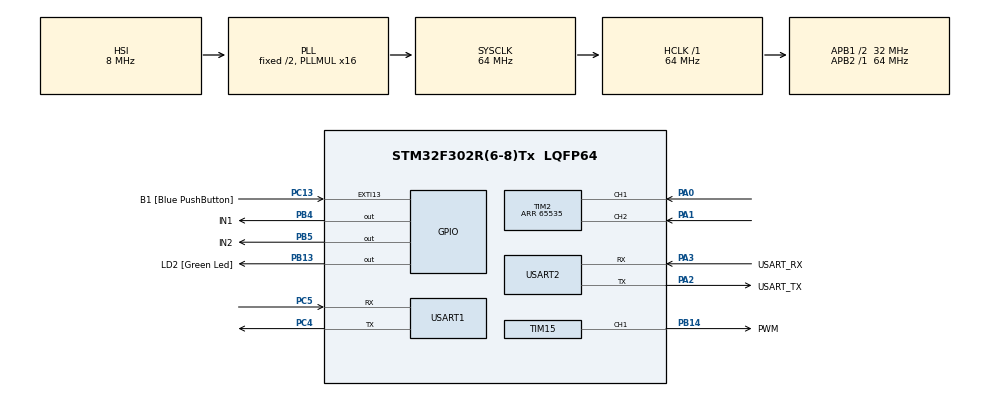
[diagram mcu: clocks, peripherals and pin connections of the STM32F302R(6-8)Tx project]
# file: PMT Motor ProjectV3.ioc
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Dma.Request0=USART1_RX
Dma.Request1=USART1_TX
Dma.USART1_RX.0.Direction=DMA_PERIPH_TO_MEMORY
Dma.USART1_RX.0.Instance=DMA1_Channel5
Dma.USART1_RX.0.MemDataAlignment=DMA_MDATAALIGN_BYTE
Dma.USART1_RX.0.MemInc=DMA_MINC_ENABLE
Dma.USART1_RX.0.Mode=DMA_NORMAL
Dma.USART1_RX.0.PeriphDataAlignment=DMA_PDATAALIGN_BYTE
Dma.USART1_RX.0.PeriphInc=DMA_PINC_DISABLE
Dma.USART1_RX.0.Priority=DMA_PRIORITY_LOW
Dma.USART1_TX.1.Direction=DMA_MEMORY_TO_PERIPH
Dma.USART1_TX.1.Instance=DMA1_Channel4
Dma.USART1_TX.1.MemDataAlignment=DMA_MDATAALIGN_BYTE
Dma.USART1_TX.1.MemInc=DMA_MINC_ENABLE
Dma.USART1_TX.1.Mode=DMA_NORMAL
Dma.USART1_TX.1.PeriphDataAlignment=DMA_PDATAALIGN_BYTE
Dma.USART1_TX.1.PeriphInc=DMA_PINC_DISABLE
Dma.USART1_TX.1.Priority=DMA_PRIORITY_LOW
Mcu.Family=STM32F3
Mcu.Name=STM32F302R(6-8)Tx
Mcu.Package=LQFP64
NVIC.DMA1_Channel4_IRQn=true\:0\:0\:false\:false\:true\:false\:true\:true
NVIC.DMA1_Channel5_IRQn=true\:0\:0\:false\:false\:true\:false\:true\:true
NVIC.PriorityGroup=NVIC_PRIORITYGROUP_0
NVIC.TIM6_DAC_IRQn=true\:0\:0\:false\:false\:true\:true\:true\:true
NVIC.USART1_IRQn=true\:0\:0\:false\:false\:true\:true\:true\:true
PA0.Signal=S_TIM2_CH1_ETR
PA1.Signal=S_TIM2_CH2
PA13.GPIO_Label=TMS
PA13.Mode=Serial_Wire
PA13.Signal=SYS_JTMS-SWDIO
PA14.GPIO_Label=TCK
PA14.Mode=Serial_Wire
PA14.Signal=SYS_JTCK-SWCLK
PA2.GPIO_Label=USART_TX
PA2.GPIO_Mode=GPIO_MODE_AF_PP
PA2.GPIO_PuPd=GPIO_NOPULL
PA2.GPIO_Speed=GPIO_SPEED_FREQ_LOW
PA2.Mode=Asynchronous
PA2.Signal=USART2_TX
PA3.GPIO_Label=USART_RX
PA3.GPIO_Mode=GPIO_MODE_AF_PP
PA3.GPIO_PuPd=GPIO_NOPULL
PA3.GPIO_Speed=GPIO_SPEED_FREQ_LOW
PA3.Mode=Asynchronous
PA3.Signal=USART2_RX
PB13.GPIO_Label=LD2 [Green Led]
PB13.Signal=GPIO_Output
PB14.GPIO_Label=PWM
PB14.Signal=S_TIM15_CH1
PB3.GPIO_Label=SWO
PB3.Mode=Trace_Asynchronous_SW
PB3.Signal=SYS_JTDO-TRACESWO
PB4.GPIO_Label=IN1
PB4.Signal=GPIO_Output
PB5.GPIO_Label=IN2
PB5.Signal=GPIO_Output
PC13.GPIO_Label=B1 [Blue PushButton]
PC13.GPIO_ModeDefaultEXTI=GPIO_MODE_IT_FALLING
PC13.Signal=GPXTI13
PC14\ -\ OSC32_IN.Mode=LSE-External-Oscillator
PC14\ -\ OSC32_IN.Signal=RCC_OSC32_IN
PC15\ -\ OSC32_OUT.Mode=LSE-External-Oscillator
PC15\ -\ OSC32_OUT.Signal=RCC_OSC32_OUT
PC4.Mode=Asynchronous
PC4.Signal=USART1_TX
PC5.Mode=Asynchronous
PC5.Signal=USART1_RX
PF0-OSC_IN.Mode=HSE-External-Clock-Source
PF0-OSC_IN.Signal=RCC_OSC_IN
PF1-OSC_OUT.Signal=RCC_OSC_OUT
ProjectManager.HeapSize=0x200
ProjectManager.StackSize=0x400
ProjectManager.TargetToolchain=STM32CubeIDE
RCC.AHBFreq_Value=64000000
RCC.APB1CLKDivider=RCC_HCLK_DIV2
RCC.APB1Freq_Value=32000000
RCC.APB1TimFreq_Value=64000000
RCC.APB2Freq_Value=64000000
RCC.APB2TimFreq_Value=64000000
RCC.CortexFreq_Value=64000000
RCC.HCLKFreq_Value=64000000
RCC.HSE_VALUE=8000000
RCC.HSI_VALUE=8000000
RCC.PLLM=8
RCC.PLLMUL=RCC_PLL_MUL16
RCC.PLLN=336
RCC.PLLP=RCC_PLLP_DIV4
RCC.PLLQ=7
RCC.RCC_PLLsource_Clock_Source_FROM_HSE=RCC_HSE_PREDIV_DIV2
RCC.SYSCLKFreq_VALUE=64000000
RCC.SYSCLKSourceVirtual=RCC_SYSCLKSOURCE_PLLCLK
RCC.USBFreq_Value=64000000
SH.S_TIM15_CH1.0=TIM15_CH1,PWM Generation1 CH1
SH.S_TIM2_CH1_ETR.0=TIM2_CH1,Encoder_Interface
SH.S_TIM2_CH2.0=TIM2_CH2,Encoder_Interface
TIM15.Channel-PWM\ Generation1\ CH1=TIM_CHANNEL_1
TIM15.Period=3214
TIM15.Prescaler=0
TIM15.Pulse-PWM\ Generation1\ CH1=1607
TIM2.EncoderMode=TIM_ENCODERMODE_TI12
TIM2.Period=65535
TIM6.Period=19999
TIM6.Prescaler=15
USART1.VirtualMode-Asynchronous=VM_ASYNC
USART2.VirtualMode-Asynchronous=VM_ASYNC
VP_TIM6_VS_ClockSourceINT.Mode=Enable_Timer
board=NUCLEO-F302R8

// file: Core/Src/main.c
/* USER CODE BEGIN Header */
/**
  ******************************************************************************
  * @file           : main.c
  * @brief          : Main program body
  ******************************************************************************
  * @attention
  *
  * Copyright (c) 2023 STMicroelectronics.
  * All rights reserved.
  *
  * This software is licensed under terms that can be found in the LICENSE file
  * in the root directory of this software component.
  * If no LICENSE file comes with this software, it is provided AS-IS.
  *
  ******************************************************************************

  Index code dictionary:
  0x01: Control Parameters
  0x10: Current Values
  0x11: Velocity Values
  0x12: Position Values
  0x36: Velocity Loop Control Parameters (PID)
  0xD0: Control Loop Configuration Parameters
  0xFE: calculating CRC of data or header or smth.

  */
/* USER CODE END Header */
#include "main.h"

TIM_HandleTypeDef htim2;
TIM_HandleTypeDef htim6;
TIM_HandleTypeDef htim15;

UART_HandleTypeDef huart1;
UART_HandleTypeDef huart2;
DMA_HandleTypeDef hdma_usart1_rx;
DMA_HandleTypeDef hdma_usart1_tx;

/* USER CODE BEGIN PV */

union ParaType
{
	float flt;
	int8_t byte[4];
} Kp, Ki, Kd, Ka;

union MeasuredType
{
	int32_t INT;
	uint8_t byte[4];
} Vel_Measured, Vel_Target;

#define DMA_RX_BUFFER_SIZE 256
uint8_t DMA_RX_Buffer[DMA_RX_BUFFER_SIZE];

#define DMA_TX_BUFFER_SIZE 520
uint8_t DMA_TX_Buffer[DMA_TX_BUFFER_SIZE];

uint8_t Rx_Head[8], Rx_Data[20], Rx_Buffer[256], Data_Buffer[256];
uint8_t Rply_Head[8] = { 0xA5, 0xFF, 0x01, 0x01, 0x00, 0x00, 0x00, 0x00 };
uint8_t Rply_Data[512];
uint8_t Tx_Buffer[512];
volatile uint16_t counter = 0, Rx_Counter;
volatile uint8_t COM_Status; // status = 0, DMA not finished. = 1, DMA finished
volatile uint8_t uartTxDone;
uint8_t message[29] = "Driver Ware has began running";
uint16_t EncVal, direction;
int32_t Speed_TIM6_Measured, Speed_TIM6_Target, Err, Err_1, Err_2, Uk, Uk_1, dU;
uint16_t i, j, CRC_Val, x, y, accumulator, k;
float vKp, vKi, vKd, vKa;
uint8_t CCW = 0;

static const uint16_t crctable[256] = {
	0x0000, 0x1021, 0x2042, 0x3063, 0x4084, 0x50A5, 0x60C6, 0x70E7,
	0x8108, 0x9129, 0xA14A, 0xB16B, 0xC18C, 0xD1AD, 0xE1CE, 0xF1EF,
	0x1231, 0x0210, 0x3273, 0x2252, 0x52B5, 0x4294, 0x72F7, 0x62D6,
	0x9339, 0x8318, 0xB37B, 0xA35A, 0xD3BD, 0xC39C, 0xF3FF, 0xE3DE,
	0x2462, 0x3443, 0x0420, 0x1401, 0x64E6, 0x74C7, 0x44A4, 0x5485,
	0xA56A, 0xB54B, 0x8528, 0x9509, 0xE5EE, 0xF5CF, 0xC5AC, 0xD58D,
	0x3653, 0x2672, 0x1611, 0x0630, 0x76D7, 0x66F6, 0x5695, 0x46B4,
	0xB75B, 0xA77A, 0x9719, 0x8738, 0xF7DF, 0xE7FE, 0xD79D, 0xC7BC,
	0x48C4, 0x58E5, 0x6886, 0x78A7, 0x0840, 0x1861, 0x2802, 0x3823,
	0xC9CC, 0xD9ED, 0xE98E, 0xF9AF, 0x8948, 0x9969, 0xA90A, 0xB92B,
	0x5AF5, 0x4AD4, 0x7AB7, 0x6A96, 0x1A71, 0x0A50, 0x3A33, 0x2A12,
	0xDBFD, 0xCBDC, 0xFBBF, 0xEB9E, 0x9B79, 0x8B58, 0xBB3B, 0xAB1A,
	0x6CA6, 0x7C87, 0x4CE4, 0x5CC5, 0x2C22, 0x3C03, 0x0C60, 0x1C41,
	0xEDAE, 0xFD8F, 0xCDEC, 0xDDCD, 0xAD2A, 0xBD0B, 0x8D68, 0x9D49,
	0x7E97, 0x6EB6, 0x5ED5, 0x4EF4, 0x3E13, 0x2E32, 0x1E51, 0x0E70,
	0xFF9F, 0xEFBE, 0xDFDD, 0xCFFC, 0xBF1B, 0xAF3A, 0x9F59, 0x8F78,
	0x9188, 0x81A9, 0xB1CA, 0xA1EB, 0xD10C, 0xC12D, 0xF14E, 0xE16F,
	0x1080, 0x00A1, 0x30C2, 0x20E3, 0x5004, 0x4025, 0x7046, 0x6067,
	0x83B9, 0x9398, 0xA3FB, 0xB3DA, 0xC33D, 0xD31C, 0xE37F, 0xF35E,
	0x02B1, 0x1290, 0x22F3, 0x32D2, 0x4235, 0x5214, 0x6277, 0x7256,
	0xB5EA, 0xA5CB, 0x95A8, 0x8589, 0xF56E, 0xE54F, 0xD52C, 0xC50D,
	0x34E2, 0x24C3, 0x14A0, 0x0481, 0x7466, 0x6447, 0x5424, 0x4405,
	0xA7DB, 0xB7FA, 0x8799, 0x97B8, 0xE75F, 0xF77E, 0xC71D, 0xD73C,
	0x26D3, 0x36F2, 0x0691, 0x16B0, 0x6657, 0x7676, 0x4615, 0x5634,
	0xD94C, 0xC96D, 0xF90E, 0xE92F, 0x99C8, 0x89E9, 0xB98A, 0xA9AB,
	0x5844, 0x4865, 0x7806, 0x6827, 0x18C0, 0x08E1, 0x3882, 0x28A3,
	0xCB7D, 0xDB5C, 0xEB3F, 0xFB1E, 0x8BF9, 0x9BD8, 0xABBB, 0xBB9A,
	0x4A75, 0x5A54, 0x6A37, 0x7A16, 0x0AF1, 0x1AD0, 0x2AB3, 0x3A92,
	0xFD2E, 0xED0F, 0xDD6C, 0xCD4D, 0xBDAA, 0xAD8B, 0x9DE8, 0x8DC9,
	0x7C26, 0x6C07, 0x5C64, 0x4C45, 0x3CA2, 0x2C83, 0x1CE0, 0x0CC1,
	0xEF1F, 0xFF3E, 0xCF5D, 0xDF7C, 0xAF9B, 0xBFBA, 0x8FD9, 0x9FF8,
	0x6E17, 0x7E36, 0x4E55, 0x5E74, 0x2E93, 0x3EB2, 0x0ED1, 0x1EF0
};

/* USER CODE END PV */

void SystemClock_Config(void);
static void MX_GPIO_Init(void);
static void MX_DMA_Init(void);
static void MX_USART2_UART_Init(void);
static void MX_TIM2_Init(void);
static void MX_TIM6_Init(void);
static void MX_TIM15_Init(void);
static void MX_USART1_UART_Init(void);
/* USER CODE BEGIN PFP */
void Transmit_DMA(UART_HandleTypeDef *UartHandle, uint8_t* aTxBuffer, uint16_t TXBUFFERSIZE);
uint16_t CalculateCRC16( const uint8_t* c_ptr, size_t len );
void Make_Rply_Head(uint8_t* c_ptr, uint8_t r2, uint8_t r3, uint8_t r4, uint8_t r5);
/* USER CODE END PFP */

int main(void)
{

  /* MCU Configuration--------------------------------------------------------*/

  /* Reset of all peripherals, Initializes the Flash interface and the Systick. */
  HAL_Init();

  /* Configure the system clock */
  SystemClock_Config();

  /* Initialize all configured peripherals */
  MX_GPIO_Init();
  MX_DMA_Init();
  MX_USART2_UART_Init();
  MX_TIM2_Init();
  MX_TIM6_Init();
  MX_TIM15_Init();
  MX_USART1_UART_Init();
  /* USER CODE BEGIN 2 */
  HAL_UART_Transmit (&huart1, message, strlen(message), 100 );

  __HAL_UART_ENABLE_IT( &huart1, UART_IT_IDLE );//enable idle interrupt
  __HAL_DMA_ENABLE_IT( &hdma_usart1_rx, DMA_IT_TC);//enable DMA complete interrupt
  __HAL_DMA_DISABLE_IT( &hdma_usart1_rx, DMA_IT_HT);//disable half transfer interrupt

  HAL_UART_Receive_DMA( &huart1, DMA_RX_Buffer, DMA_RX_BUFFER_SIZE );//enable uart1 DMA receiving

  COM_Status = 0;

  HAL_TIM_PWM_Start( &htim15, TIM_CHANNEL_1 );
  HAL_TIMEx_PWMN_Start( &htim15, TIM_CHANNEL_1 );

  HAL_TIM_Encoder_Start(&htim2, TIM_CHANNEL_ALL);
  TIM2->CNT = 32767; //encoder couter offset;
  HAL_TIM_Base_Start(&htim2);

  HAL_GPIO_WritePin (GPIOB, GPIO_PIN_4, GPIO_PIN_SET);
  HAL_GPIO_WritePin (GPIOB, GPIO_PIN_5, GPIO_PIN_RESET);

  /* USER CODE END 2 */

  /* Infinite loop */
  while (1)
  {

    /* USER CODE BEGIN 3 */

	  //Transmit_DMA( &huart1, "HELLO\r\n", 7);

	  if( COM_Status == 1 )
	  {

		  Transmit_DMA( &huart1, Data_Buffer, strlen(Data_Buffer) );
		  Transmit_DMA( &huart1, "\n\r", 2 );

		  for( i = 0; i < Rx_Counter; ++i )
		  {

			  if ( Data_Buffer[i] == 0xA5 )
			  {
				  //Transmit_DMA( &huart1, "this works\r\n", 12);
				  //Transmit_DMA( &huart1, "\n\r", 2 )
				  for ( j = 0; j < 8; ++j )
				  {
					  Rx_Head[j] = Data_Buffer[i + j];
				  }
				  //do a crc check
				  CRC_Val = CalculateCRC16( Rx_Head, 6 );
				  uint8_t write [2] = { (CRC_Val >> 8) & 0x00FF, CRC_Val & 0x00FF };
				  Transmit_DMA( &huart1, write, sizeof(write) );

				  if ( ( (CRC_Val >> 8) & 0x00FF ) != Rx_Head[6] || ( CRC_Val & 0x00FF ) != Rx_Head[7] )
				  {
					  //prepare error reply head and exit the loop checking the data buffer
					  Make_Rply_Head( Rply_Head, (Rx_Head[2] & 0xFC), 0x08, 0x0, 0x0);
					  Transmit_DMA( &huart1, Rply_Head, sizeof(Rply_Head) );
					  COM_Status = 0;
					  break;
				  }

				  //if Rx_Head is correct, check if data follows using the "length" byte (Rx_Head[5])
				  if ( Rx_Head[5] != 0 )
				  {
					  for ( j = 0; j < 2*Rx_Head[5] + 2 ; ++j )
					  {
						  Rx_Data[j] = Data_Buffer[ i + 8 + j ];
					  }
					  //check CRC
					  CRC_Val = CalculateCRC16( Rx_Data, Rx_Head[5]*2 ); //"length" is measured in words. Each word = 2 bytes

					  uint8_t write [2] = { (CRC_Val >> 8) & 0x00FF, CRC_Val & 0x00FF };
					  Transmit_DMA( &huart1, write, sizeof(write) );

					  if ( ( (CRC_Val >> 8) & 0x00FF ) != Rx_Data[ Rx_Head[5]*2] || ( CRC_Val & 0x00FF ) != Rx_Data[ Rx_Head[5]*2 + 1 ] )
					  {
						  Make_Rply_Head( Rply_Head, (Rx_Head[2] & 0xFC), 0x08, 0x0, 0x0);
						  Transmit_DMA( &huart1, Rply_Head, sizeof(Rply_Head) );
						  COM_Status = 0;
						  break;
					  }
					  //Command is complete, Rply_Head[3] = 0x01 //1-command complete, 2-command incomplete, 4-invalid command, 6-do not have write access, 8-crc/frame error

				  }
				  //If data crc is correct/there is no data, continue on to the index.
				  //check Index
				  switch ( Rx_Head[3] )
				  {
				  case 0x01:
					  HAL_TIM_Base_Stop_IT(&htim6);
					  TIM1->CCR1 = 1607;
					  COM_Status = 0;
					  break;
				  case 0x10:
					  COM_Status = 0;
					  break;
				  case 0x11:
					  //for a more in-depth protocol: if offset is 04 -> set target velocity (in rpm)
					  //output current rpm
					  Make_Rply_Head( Rply_Head, ( (Rx_Head[2] & 0xFC) | 0x02 ), 0x01, 0, 2);

					  Vel_Measured.INT = (int32_t)( Speed_TIM6_Measured  ); //outputs rpm * ( 200.0 * 60.0 * (1.0/5120.0) )

					  for( k = 0; k < 4; ++k )
						  Rply_Data[k] = Vel_Measured.byte[3-k];
					  //most significant bit at the highest k/ at the end of the array.
					  CRC_Val = CalculateCRC16( Rply_Data, Rx_Head[5]*2 );
					  Rply_Data[5] = ( CRC_Val >> 8 ) & 0x00FF;
					  Rply_Data[6] = CRC_Val & 0x00FF;

					  for ( k = 0; k < 8; ++k )
						  Tx_Buffer[k] = Rply_Head[k];
					  for ( k = 0; k < 6; ++k )
						  Tx_Buffer[ k + 8 ] = Rply_Data[k];

					  Transmit_DMA( &huart1, Tx_Buffer, 14 );

					  switch( Rx_Head[4] )
					  {
					  case 0x00:
						  break;
					  case 0x04:
						  for ( k = 0; k < 4; ++k )
							  Vel_Target.byte[3-k]= Rx_Data[k];
						  Speed_TIM6_Target = (int32_t)( Vel_Target.INT /200.0 );
						  //velocity will be measured in CNT/5sec -> to get rpm, mutliply by 60/5120
						  if(Speed_TIM6_Target < 0)
						  {
							  CCW = 1;
						  }
						  else
						  {
							  CCW = 0;
						  }
						  break;
					  }

					  COM_Status = 0;
					  break;

				  case 0x12:
				  case 0x36:
					  //PID initialization
					  //turning data bytes into float numbers
					  for( k = 0; k < 4; ++k )
						  Kp.byte[3-k] = Rx_Data[k];
					  vKp = Kp.flt;

					  for( k = 0; k < 4; ++k )
						  Ki.byte[3-k] = Rx_Data[4 + k];
					  vKi = Ki.flt;

					  for( k = 0; k < 4; ++k )
						  Kd.byte[3-k] = Rx_Data[8 + k];
					  vKd = Kd.flt;

					  for( k = 0; k < 4; ++k )
						  Ka.byte[3-k] = Rx_Data[12 + k];
					  vKa = Ka.flt; //what is vKa used for?

					  COM_Status = 0;
					  break;

				  case 0xD0:
					  //start TIM6 timer and enable it's interrupt + NVIC priority
					  //Why is the timer and interrupt enabled here?
					  HAL_TIM_Base_Start_IT(&htim6);
					  HAL_NVIC_SetPriority(TIM6_DAC_IRQn, 0, 0); //set NVIC priority
					  HAL_NVIC_EnableIRQ(TIM6_DAC_IRQn); //enable interrupt
					  COM_Status = 0;
					  break;
				  case 0xFE:
					  CRC_Val = CalculateCRC16( Rx_Data, Rx_Head[5]*2 );
					  Make_Rply_Head( Rply_Head, ( (Rx_Head[2] & 0xFC) | 0x02 ), 0x01, 0, 1);
					  Rply_Data[0] = ( CRC_Val >> 8 ) & 0x00FF;
					  Rply_Data[1] = CRC_Val & 0x00FF;
					  /*CRC_Val = CalculateCRC16( Rply_Data, Rply_Data[5]*2 );
					  Rply_Data[2] = ( CRC_Val >> 8 ) & 0x00FF;
					  Rply_Data[3] = CRC_Val & 0x00FF;*/

					  /*for ( k = 0; k < 8; ++k )
						  Tx_Buffer[k] = Rply_Head[k];
					  for ( k = 0; k < 4; ++k )
						  Tx_Buffer[ k + 8 ] = Rply_Data[k];*/

					  Transmit_DMA( &huart1, Rply_Data, 2 );

					  COM_Status = 0;
					  break;
				  }
			  }

		  }

		  COM_Status = 0;
	  }
	  //HAL_Delay(1000);
  }
  /* USER CODE END 3 */
}

void SystemClock_Config(void)
{
  RCC_OscInitTypeDef RCC_OscInitStruct = {0};
  RCC_ClkInitTypeDef RCC_ClkInitStruct = {0};
  RCC_PeriphCLKInitTypeDef PeriphClkInit = {0};

  /** Initializes the RCC Oscillators according to the specified parameters
  * in the RCC_OscInitTypeDef structure.
  */
  RCC_OscInitStruct.OscillatorType = RCC_OSCILLATORTYPE_HSI;
  RCC_OscInitStruct.HSIState = RCC_HSI_ON;
  RCC_OscInitStruct.HSICalibrationValue = RCC_HSICALIBRATION_DEFAULT;
  RCC_OscInitStruct.PLL.PLLState = RCC_PLL_ON;
  RCC_OscInitStruct.PLL.PLLSource = RCC_PLLSOURCE_HSI;
  RCC_OscInitStruct.PLL.PLLMUL = RCC_PLL_MUL16;
  if (HAL_RCC_OscConfig(&RCC_OscInitStruct) != HAL_OK)
  {
    Error_Handler();
  }

  /** Initializes the CPU, AHB and APB buses clocks
  */
  RCC_ClkInitStruct.ClockType = RCC_CLOCKTYPE_HCLK|RCC_CLOCKTYPE_SYSCLK
                              |RCC_CLOCKTYPE_PCLK1|RCC_CLOCKTYPE_PCLK2;
  RCC_ClkInitStruct.SYSCLKSource = RCC_SYSCLKSOURCE_PLLCLK;
  RCC_ClkInitStruct.AHBCLKDivider = RCC_SYSCLK_DIV1;
  RCC_ClkInitStruct.APB1CLKDivider = RCC_HCLK_DIV2;
  RCC_ClkInitStruct.APB2CLKDivider = RCC_HCLK_DIV1;

  if (HAL_RCC_ClockConfig(&RCC_ClkInitStruct, FLASH_LATENCY_2) != HAL_OK)
  {
    Error_Handler();
  }
  PeriphClkInit.PeriphClockSelection = RCC_PERIPHCLK_USART1|RCC_PERIPHCLK_TIM15;
  PeriphClkInit.Usart1ClockSelection = RCC_USART1CLKSOURCE_PCLK1;
  PeriphClkInit.Tim15ClockSelection = RCC_TIM15CLK_HCLK;
  if (HAL_RCCEx_PeriphCLKConfig(&PeriphClkInit) != HAL_OK)
  {
    Error_Handler();
  }
}

static void MX_TIM2_Init(void)
{

  TIM_Encoder_InitTypeDef sConfig = {0};
  TIM_MasterConfigTypeDef sMasterConfig = {0};

  htim2.Instance = TIM2;
  htim2.Init.Prescaler = 0;
  htim2.Init.CounterMode = TIM_COUNTERMODE_UP;
  htim2.Init.Period = 65535;
  htim2.Init.ClockDivision = TIM_CLOCKDIVISION_DIV1;
  htim2.Init.AutoReloadPreload = TIM_AUTORELOAD_PRELOAD_DISABLE;
  sConfig.EncoderMode = TIM_ENCODERMODE_TI12;
  sConfig.IC1Polarity = TIM_ICPOLARITY_RISING;
  sConfig.IC1Selection = TIM_ICSELECTION_DIRECTTI;
  sConfig.IC1Prescaler = TIM_ICPSC_DIV1;
  sConfig.IC1Filter = 0;
  sConfig.IC2Polarity = TIM_ICPOLARITY_RISING;
  sConfig.IC2Selection = TIM_ICSELECTION_DIRECTTI;
  sConfig.IC2Prescaler = TIM_ICPSC_DIV1;
  sConfig.IC2Filter = 0;
  if (HAL_TIM_Encoder_Init(&htim2, &sConfig) != HAL_OK)
  {
    Error_Handler();
  }
  sMasterConfig.MasterOutputTrigger = TIM_TRGO_RESET;
  sMasterConfig.MasterSlaveMode = TIM_MASTERSLAVEMODE_DISABLE;
  if (HAL_TIMEx_MasterConfigSynchronization(&htim2, &sMasterConfig) != HAL_OK)
  {
    Error_Handler();
  }

}

static void MX_TIM6_Init(void)
{

  TIM_MasterConfigTypeDef sMasterConfig = {0};

  htim6.Instance = TIM6;
  htim6.Init.Prescaler = 15;
  htim6.Init.CounterMode = TIM_COUNTERMODE_UP;
  htim6.Init.Period = 19999;
  htim6.Init.AutoReloadPreload = TIM_AUTORELOAD_PRELOAD_DISABLE;
  if (HAL_TIM_Base_Init(&htim6) != HAL_OK)
  {
    Error_Handler();
  }
  sMasterConfig.MasterOutputTrigger = TIM_TRGO_RESET;
  sMasterConfig.MasterSlaveMode = TIM_MASTERSLAVEMODE_DISABLE;
  if (HAL_TIMEx_MasterConfigSynchronization(&htim6, &sMasterConfig) != HAL_OK)
  {
    Error_Handler();
  }

}

static void MX_TIM15_Init(void)
{

  TIM_MasterConfigTypeDef sMasterConfig = {0};
  TIM_OC_InitTypeDef sConfigOC = {0};
  TIM_BreakDeadTimeConfigTypeDef sBreakDeadTimeConfig = {0};

  htim15.Instance = TIM15;
  htim15.Init.Prescaler = 0;
  htim15.Init.CounterMode = TIM_COUNTERMODE_UP;
  htim15.Init.Period = 3214;
  htim15.Init.ClockDivision = TIM_CLOCKDIVISION_DIV1;
  htim15.Init.RepetitionCounter = 0;
  htim15.Init.AutoReloadPreload = TIM_AUTORELOAD_PRELOAD_DISABLE;
  if (HAL_TIM_PWM_Init(&htim15) != HAL_OK)
  {
    Error_Handler();
  }
  sMasterConfig.MasterOutputTrigger = TIM_TRGO_RESET;
  sMasterConfig.MasterSlaveMode = TIM_MASTERSLAVEMODE_DISABLE;
  if (HAL_TIMEx_MasterConfigSynchronization(&htim15, &sMasterConfig) != HAL_OK)
  {
    Error_Handler();
  }
  sConfigOC.OCMode = TIM_OCMODE_PWM1;
  sConfigOC.Pulse = 0;
  sConfigOC.OCPolarity = TIM_OCPOLARITY_HIGH;
  sConfigOC.OCNPolarity = TIM_OCNPOLARITY_HIGH;
  sConfigOC.OCFastMode = TIM_OCFAST_DISABLE;
  sConfigOC.OCIdleState = TIM_OCIDLESTATE_RESET;
  sConfigOC.OCNIdleState = TIM_OCNIDLESTATE_RESET;
  if (HAL_TIM_PWM_ConfigChannel(&htim15, &sConfigOC, TIM_CHANNEL_1) != HAL_OK)
  {
    Error_Handler();
  }
  sBreakDeadTimeConfig.OffStateRunMode = TIM_OSSR_DISABLE;
  sBreakDeadTimeConfig.OffStateIDLEMode = TIM_OSSI_DISABLE;
  sBreakDeadTimeConfig.LockLevel = TIM_LOCKLEVEL_OFF;
  sBreakDeadTimeConfig.DeadTime = 0;
  sBreakDeadTimeConfig.BreakState = TIM_BREAK_DISABLE;
  sBreakDeadTimeConfig.BreakPolarity = TIM_BREAKPOLARITY_HIGH;
  sBreakDeadTimeConfig.BreakFilter = 0;
  sBreakDeadTimeConfig.AutomaticOutput = TIM_AUTOMATICOUTPUT_DISABLE;
  if (HAL_TIMEx_ConfigBreakDeadTime(&htim15, &sBreakDeadTimeConfig) != HAL_OK)
  {
    Error_Handler();
  }
  HAL_TIM_MspPostInit(&htim15);

}

static void MX_USART1_UART_Init(void)
{

  huart1.Instance = USART1;
  huart1.Init.BaudRate = 38400;
  huart1.Init.WordLength = UART_WORDLENGTH_8B;
  huart1.Init.StopBits = UART_STOPBITS_1;
  huart1.Init.Parity = UART_PARITY_NONE;
  huart1.Init.Mode = UART_MODE_TX_RX;
  huart1.Init.HwFlowCtl = UART_HWCONTROL_NONE;
  huart1.Init.OverSampling = UART_OVERSAMPLING_16;
  huart1.Init.OneBitSampling = UART_ONE_BIT_SAMPLE_DISABLE;
  huart1.AdvancedInit.AdvFeatureInit = UART_ADVFEATURE_NO_INIT;
  if (HAL_UART_Init(&huart1) != HAL_OK)
  {
    Error_Handler();
  }

}

static void MX_USART2_UART_Init(void)
{

  huart2.Instance = USART2;
  huart2.Init.BaudRate = 38400;
  huart2.Init.WordLength = UART_WORDLENGTH_8B;
  huart2.Init.StopBits = UART_STOPBITS_1;
  huart2.Init.Parity = UART_PARITY_NONE;
  huart2.Init.Mode = UART_MODE_TX_RX;
  huart2.Init.HwFlowCtl = UART_HWCONTROL_NONE;
  huart2.Init.OverSampling = UART_OVERSAMPLING_16;
  huart2.Init.OneBitSampling = UART_ONE_BIT_SAMPLE_DISABLE;
  huart2.AdvancedInit.AdvFeatureInit = UART_ADVFEATURE_NO_INIT;
  if (HAL_UART_Init(&huart2) != HAL_OK)
  {
    Error_Handler();
  }

}

static void MX_DMA_Init(void)
{

  /* DMA controller clock enable */
  __HAL_RCC_DMA1_CLK_ENABLE();

  /* DMA interrupt init */
  /* DMA1_Channel4_IRQn interrupt configuration */
  HAL_NVIC_SetPriority(DMA1_Channel4_IRQn, 0, 0);
  HAL_NVIC_EnableIRQ(DMA1_Channel4_IRQn);
  /* DMA1_Channel5_IRQn interrupt configuration */
  HAL_NVIC_SetPriority(DMA1_Channel5_IRQn, 0, 0);
  HAL_NVIC_EnableIRQ(DMA1_Channel5_IRQn);

}

static void MX_GPIO_Init(void)
{
  GPIO_InitTypeDef GPIO_InitStruct = {0};

  /* GPIO Ports Clock Enable */
  __HAL_RCC_GPIOC_CLK_ENABLE();
  __HAL_RCC_GPIOF_CLK_ENABLE();
  __HAL_RCC_GPIOA_CLK_ENABLE();
  __HAL_RCC_GPIOB_CLK_ENABLE();

  /*Configure GPIO pin Output Level */
  HAL_GPIO_WritePin(GPIOB, LD2_Pin|IN1_Pin|IN2_Pin, GPIO_PIN_RESET);

  /*Configure GPIO pin : B1_Pin */
  GPIO_InitStruct.Pin = B1_Pin;
  GPIO_InitStruct.Mode = GPIO_MODE_IT_FALLING;
  GPIO_InitStruct.Pull = GPIO_NOPULL;
  HAL_GPIO_Init(B1_GPIO_Port, &GPIO_InitStruct);

  /*Configure GPIO pins : LD2_Pin IN1_Pin IN2_Pin */
  GPIO_InitStruct.Pin = LD2_Pin|IN1_Pin|IN2_Pin;
  GPIO_InitStruct.Mode = GPIO_MODE_OUTPUT_PP;
  GPIO_InitStruct.Pull = GPIO_NOPULL;
  GPIO_InitStruct.Speed = GPIO_SPEED_FREQ_LOW;
  HAL_GPIO_Init(GPIOB, &GPIO_InitStruct);

}

/* USER CODE BEGIN 4 */
void HAL_UART_TxCpltCallback( UART_HandleTypeDef *UartHandle )
{
	//HAL_UART_Transmit (&huart1, "WHAT\r\n", 5, 100 );
	uartTxDone = 1; //signal that Transfer is cplt

}

void Transmit_DMA(UART_HandleTypeDef *UartHandle, uint8_t* aTxBuffer, uint16_t TXBUFFERSIZE)
{
	HAL_StatusTypeDef sts;

	uartTxDone = 0;
	sts = HAL_UART_Transmit_DMA(UartHandle, (uint8_t*)aTxBuffer, TXBUFFERSIZE);

	if( sts != HAL_OK)
	{
		Error_Handler();
	}
	else
	{
		//wait for uart transfer to be complete
		while (uartTxDone == 0)
		{
		}
	}
}

HAL_TIM_PeriodElapsedCallback (TIM_HandleTypeDef * htim)
{
	if( htim -> Instance == TIM6 )
	{
		/*
		 let rpm = 60 rev/min
		 = 1 rev / second

		 Encoder reads 64 cts/motor rev * 20 motor/gear rev * 4 * 1 gear rev/s
		 = 5120 cts/sec
		 = 5120 cts/gear rev @ 1rev/sec

		 with a 5 ms interval between encoder reads = 0.005s
		 0.005s * 5120 cts/s = 25.6 cts

		 TIM2 will be reading encoder values

		 speed displayed in revolutions per minute.
		 (# of cts in 0.005s frame) * (1/0.005seconds) * (60seconds/minute) * (1rev/5120cts) = rpm

		 encoder value is set at 32767 (midpoint of 65535) as an offset so that negative counts are easier to deal with.
		 TIM2 0-25 = 65510 which makes getting an opposite rpm harder.

		 first read encoder value
		 Calculate speed
		 reset encoder offset

		 add PID, target speed, and PWM to the motor later.

		 Keep the speed here in cts/0.005seconds
		 * */

		EncVal = TIM2->CNT;
		TIM2->CNT = 32767;

		Speed_TIM6_Measured = (int32_t)( (EncVal - 32767) );
		Err = Speed_TIM6_Target - Speed_TIM6_Measured;

		dU = vKp * (Err - Err_1) + (vKi * Err) + ( vKd * ( Err - 2*Err_1 + Err_2 ) );
		Uk = Uk_1 + dU;
		Uk_1 = Uk;
		Err_2 = Err_1;
		Err_1 = Err;

		//3214/2 =1607
		if( CCW )
		{
			HAL_GPIO_WritePin (GPIOB, GPIO_PIN_4, GPIO_PIN_RESET);
			HAL_GPIO_WritePin (GPIOB, GPIO_PIN_5, GPIO_PIN_SET);
			TIM15 -> CCR1 = (uint32_t) ( -1.0 * (Uk/204.0) * 3214.0 );
		}
		else
		{
			HAL_GPIO_WritePin (GPIOB, GPIO_PIN_4, GPIO_PIN_SET);
			HAL_GPIO_WritePin (GPIOB, GPIO_PIN_5, GPIO_PIN_RESET);
			TIM15 -> CCR1 = (uint32_t) ( (Uk/204.0) * 3214.0 );
		}

		//update the PWM value
	}
}

uint16_t CalculateCRC16( const uint8_t* c_ptr, size_t len )
{
	/*
	 crc_COM = CalculateCRC16(crc_Result, Rx_Head, 6);

	 Rx_Head is an array storing all the bytes

	 * */
	const uint8_t* c = c_ptr; //now storinkg the address of the array that's storing all the bytes
	//*c++ increases the array index? after access the item at index 'c'?? that would be crazy
	accumulator = 0x0000;
	for( len; len > 0; --len )
	{
		x = accumulator << 8 ;
		y = crctable[ ((accumulator >> 8 ) ^ *c)];
		*c++;
		accumulator = x ^ y;
	}
	return accumulator;
}

void Make_Rply_Head(uint8_t* rply_ptr, uint8_t r2, uint8_t r3, uint8_t r4, uint8_t r5)
{
	rply_ptr[0] = 0xA5;
	rply_ptr[1] = 0xFF;
	rply_ptr[2] = r2;
	rply_ptr[3] = r3;
	rply_ptr[4] = r4;
	rply_ptr[5] = r5;
	CRC_Val = CalculateCRC16( rply_ptr, 6 );
	rply_ptr[6] = ( (CRC_Val >> 8) & 0x00FF );
	rply_ptr[7] = ( CRC_Val & 0x00FF );
}
/* USER CODE END 4 */

void Error_Handler(void)
{
  __disable_irq();
  while (1)
  {
  }
}
